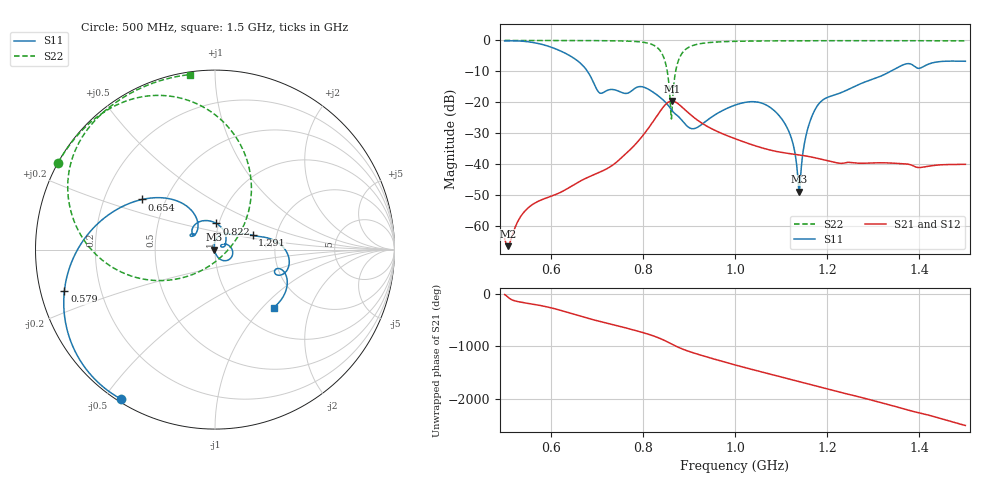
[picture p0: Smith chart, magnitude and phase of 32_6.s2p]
! TOUCHSTONE file generated by CST MICROWAVE STUDIO
! Date and time: Sat Oct 24 11:48:38 2020
! Project name: Scenario_1_Circular_Tissue_out_of_Line.cst
! Parameters = {dy1=191.571; L_HA=400; MT=2.54; Rad_Dielectric=30; Rad_Lower=7.3; Rad_Upper=30; a_HA=580; a_WG=246; b_HA=500; b_WG=121; c_HA=0; c_WG=187; d_feed=85; dx1=1039; h_feed=15; h_lower=18; h_upper=40}
! Header version: 2018
! Port assignment regex: !\s*Touchstone port\s*([0-9]+)\s*=\s*(CST MWS port|CST DS port)\s*([0-9]+|Zmin|Zmax)\s*\(\"(.*)\"\)(\s*mode\s*([0-9]+))?.*
! Touchstone port assignment:
! Touchstone port 1 = CST MWS port 1 ("")
! Touchstone port 2 = CST MWS port 2 ("")
# GHz S DB R 50
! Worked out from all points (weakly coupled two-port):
!   1001 points, 500 MHz to 1.5 GHz, reference 50 ohm
!   highest |S21| = -19.65 dB at 863 MHz (marker M1); lowest = -66.7 dB at 507 MHz (marker M2)
!   lowest |S11| = -49.1 dB at 1.139 GHz (marker M3), VSWR 1.01, Z = 49.7 - j0.117 ohm
!   |S11| at or under -10 dB: 679.7 MHz to 1.338 GHz (658 MHz wide, 65.2 % of centre)
!   |S22| runs from -25.5 to 0.0 dB; largest |S21 - S12| = 8.3e-06
!   S11 on the Smith chart (normalised r, x): 500 MHz: 0.01, -0.55; 579 MHz: 0.07, -0.13; 654 MHz: 0.37, +0.27; 822 MHz: 0.97, +0.29; 1.291 GHz: 1.50, +0.25; 1.5 GHz: 1.41, -1.16
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0.5  -0.15 -122.1  -64.23 -6.3  -64.23 -6.3  -0.01 151.1
0.507  -0.12 -125.2  -66.67 -54.4  -66.71 -54.4  -0.01 150.7
0.539  -0.25 -141.2  -56.19 -158.0  -56.19 -158.3  -0.01 148.5
0.579  -1.21 -164.6  -51.71 141.1  -51.71 141.0  -0.02 145.7
0.654  -6.14 145.5  -46.44 -34.8  -46.44 -34.7  -0.03 139.7
0.667  -7.74 135.3  -45.36 -68.3  -45.36 -68.3  -0.04 138.4
0.707  -17.07 137.7  -42.67 -162.5  -42.67 -162.5  -0.07 134.1
0.822  -16.73 86.9  -26.33 -76.4  -26.33 -76.4  -1.43 100.5
0.834  -18.03 71.7  -23.70 -116.0  -23.70 -116.0  -2.69 88.2
0.849  -20.02 53.3  -20.78 -174.8  -20.78 -174.8  -7.24 62.5
0.863  -22.62 35.8  -19.65 122.5  -19.65 122.5  -23.53 -87.0
0.875  -24.33 21.0  -20.37 70.8  -20.37 70.8  -7.54 -156.6
0.891  -26.99 18.0  -22.41 12.4  -22.41 12.4  -3.13 179.2
1  -20.96 7.5  -31.84 84.7  -31.84 84.7  -0.29 140.8
1.095  -24.23 -61.7  -36.12 -134.6  -36.12 -134.7  -0.13 130.5
1.122  -31.51 -78.9  -36.74 162.1  -36.75 162.1  -0.12 128.1
1.139  -49.05 -160.5  -37.09 122.3  -37.09 122.3  -0.11 126.7
1.167  -24.55 83.6  -37.82 58.1  -37.82 58.1  -0.10 124.4
1.193  -19.04 53.2  -38.71 0.2  -38.71 0.2  -0.09 122.4
1.291  -12.99 20.8  -39.74 142.4  -39.74 142.4  -0.08 114.9
1.334  -10.30 12.0  -39.70 41.2  -39.70 41.2  -0.09 111.7
1.5  -6.75 -44.7  -40.14 4.4  -40.14 4.4  -0.13 98.2
